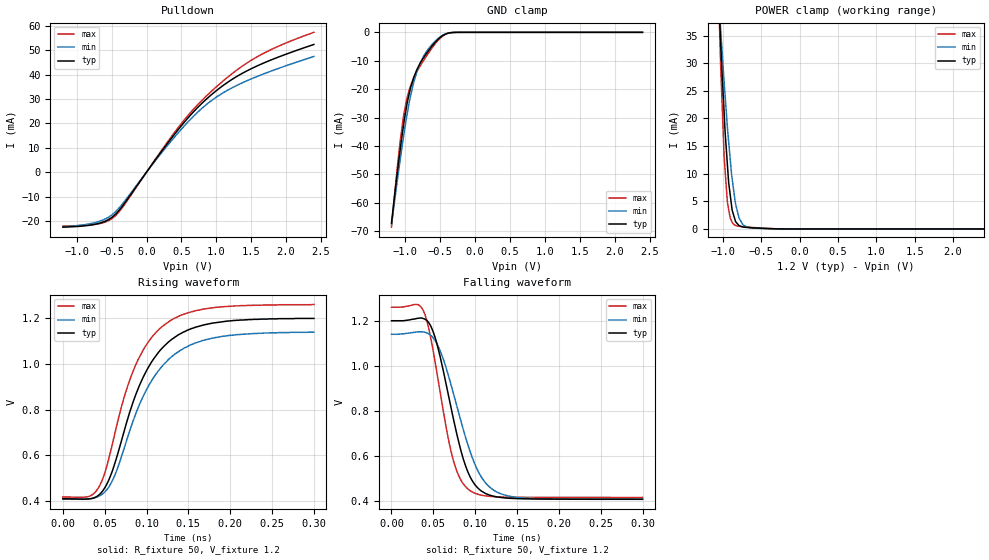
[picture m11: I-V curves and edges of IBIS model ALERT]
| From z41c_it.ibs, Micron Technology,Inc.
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| MODEL ALERT (ALERT_n Output Model, 1600-3200Mbps)
[Model]   ALERT
Model_type   Open_sink
Vmeas = 960.000mV
Vref = 1200.000mV
Cref = 0.0pF
Rref = 50.000Ohm
|   typ   min   max
|C_comp   0.650pF   0.600pF   0.700pF
C_comp_pulldown   0.650pF   0.600pF   0.700pF
[Model Spec]
| Timing spec test load voltage corners
Vref   1.2000V   1.1400V   1.2600V
[Voltage Range]   1.2000V   1.1400V   1.2600V
| Junction Temperature (Ambient temp is 35C typ, 95C min, -40C max)
[Temperature Range]   50.0   110.0   -40.0
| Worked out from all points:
|   slope of the pulldown table from 0 to 0.18 V, typ, clamps not added: 25.2 ohm
|   GND clamp passes 1 mA (typ) near -0.46 V on its own axis
|   POWER clamp passes 1 mA (typ) near -0.82 V on its own axis
|   falling waveform, R_fixture 50, V_fixture 1.2: 20-80 % time 29.5ps typ, 35.7ps min, 25ps max; typ from 1.2 V to 0.409 V
|   rising waveform, R_fixture 50, V_fixture 1.2: 20-80 % time 50ps typ, 53ps min, 46.3ps max; typ from 0.409 V to 1.2 V
[Pulldown]
|   Voltage   I(typ)   I(min)   I(max)
-1.2V     -22.53mA   -22.3mA    -22.12mA
-740mV    -21.37mA   -20.69mA   -21.42mA
-485mV    -18.25mA   -17.25mA   -18.81mA
-340mV    -13.7mA    -12.84mA   -14.26mA
130mV     5.188mA    4.823mA    5.434mA
465mV     17.81mA    16.51mA    18.66mA
690mV     25.22mA    23.41mA    26.3mA
945mV     32.09mA    29.63mA    33.52mA
1.22V     37.91mA    34.47mA    40.23mA
1.605V    43.79mA    39.44mA    47.59mA
1.955V    47.87mA    43.16mA    52.41mA
2.4V      52.35mA    47.43mA    57.32mA
[GND Clamp]
|   Voltage   I(typ)   I(min)   I(max)
-1.2V     -67.18mA   -67.87mA   -68.61mA
-1.125V   -51.16mA   -53.75mA   -49.62mA
-1.08V    -42.22mA   -45.67mA   -39.36mA
-1.03V    -33.13mA   -37.16mA   -29.91mA
-980mV    -25.55mA   -29.4mA    -23.39mA
-925mV    -19.39mA   -22.21mA   -18.78mA
-890mV    -16.63mA   -18.38mA   -16.54mA
-790mV    -10.9mA    -10.95mA   -11.9mA
-645mV    -5.66mA    -5.033mA   -6.4mA
-485mV    -1.483mA   -1.321mA   -1.687mA
-290mV    -27.81uA   -35.65uA   -21.31uA
2.4V      0A         0A         0A
[POWER Clamp]
|   Voltage   I(typ)   I(min)   I(max)
-1.2V     93.15mA    76.36mA    125mA
-1.06V    43.2mA     42.87mA    44.2mA
-1.04V    36.92mA    38.31mA    34.41mA
-1.03V    33.78mA    36.15mA    29.65mA
-985mV    21.11mA    26.63mA    13.27mA
-945mV    12.23mA    19.01mA    5.357mA
-925mV    8.349mA    15.67mA    3.504mA
-880mV    3.388mA    9.098mA    1.221mA
-845mV    1.787mA    5.39mA     688uA
-785mV    565.7uA    1.842mA    471.7uA
-645mV    233.3uA    213.3uA    304.2uA
2.4V      0A         0A         0A
[Ramp]
|   typ   min   max
| 20% - 80%
dV/dt_r   474.09m/49.94p   438.51m/52.92p   505.63m/46.25p
dV/dt_f   474.26m/29.47p   438.65m/35.66p   505.66m/25.03p
| 25% - 75%
|dV/dt_r   395.07m/39.27p   365.43m/41.65p   421.36m/36.41p
|dV/dt_f   395.22m/23.78p   365.54m/28.72p   421.39m/20.13p
R_load = 50
[Falling Waveform]
R_fixture   = 50
V_fixture   = 1.2
V_fixture_min = 1.14
V_fixture_max = 1.26
|   Time   V(typ)   V(min)   V(max)
0s        1.2V       1.14V      1.26V
34ps      1.212V     1.151V     1.266V
46ps      1.183V     1.138V     1.14V
58ps      1.043V     1.068V     886.6mV
72ps      799.6mV    905.2mV    608.3mV
82ps      637.8mV    768mV      500.4mV
92ps      523.6mV    641.8mV    452.2mV
110ps     439.2mV    492.8mV    425.1mV
134ps     415.2mV    428.8mV    418.4mV
300ps     409.1mV    408.5mV    416.8mV
[Rising Waveform]
R_fixture   = 50
V_fixture   = 1.2
V_fixture_min = 1.14
V_fixture_max = 1.26
|   Time   V(typ)   V(min)   V(max)
0s        409mV      407.9mV    416.8mV
34ps      409.9mV    409.7mV    424mV
50ps      456.2mV    438.2mV    520.4mV
64ps      585.6mV    529.3mV    724.3mV
84ps      833.3mV    750.3mV    968.5mV
102ps     983.4mV    900.8mV    1.095V
122ps     1.081V     1.003V     1.173V
146ps     1.142V     1.071V     1.219V
178ps     1.178V     1.112V     1.245V
300ps     1.199V     1.139V     1.26V
